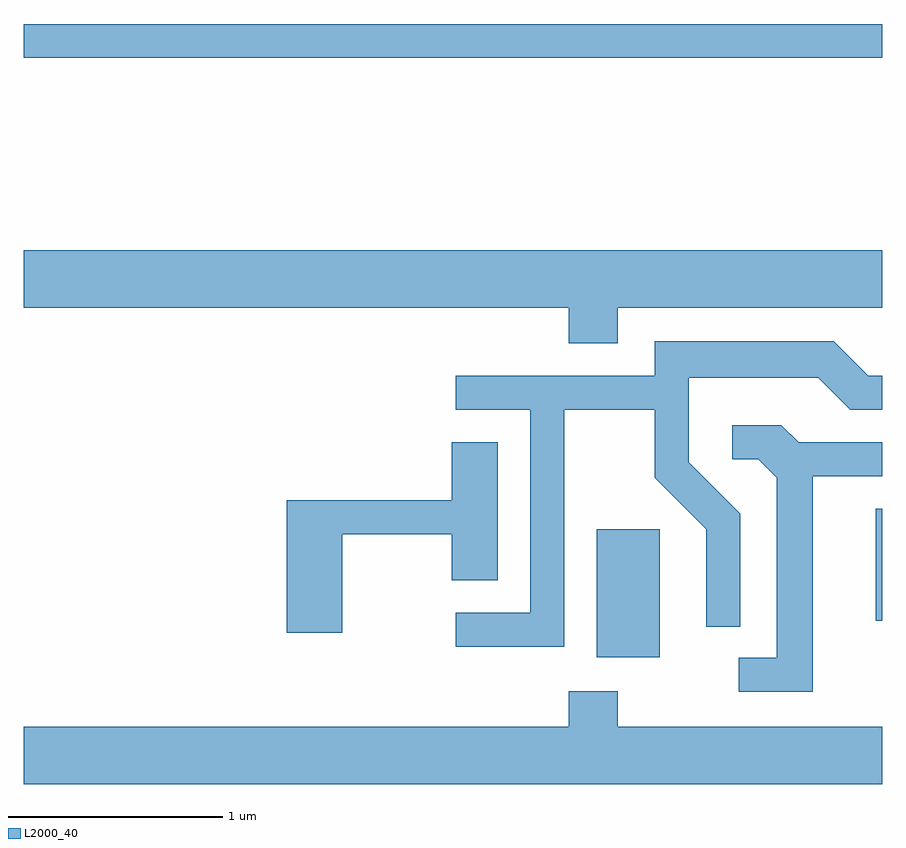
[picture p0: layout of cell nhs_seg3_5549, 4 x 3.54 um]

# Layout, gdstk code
import gdstk
lib = gdstk.Library(unit=1e-6, precision=1e-09)
def R(c, l, rs):  # rectangles x0, y0, x1, y1
    for r in rs: c.add(gdstk.rectangle(r[:2], r[2:], *l))
def P(c, l, *ps):  # polygons
    for p in ps: c.add(gdstk.Polygon(p, *l))
L2000_40 = (2000, 40)

nhs_seg3_5549 = lib.new_cell('nhs_seg3_5549')
R(nhs_seg3_5549, L2000_40, [(350.281,1206.526,350.574,1207.124), (351.581,1206.696,351.611,1207.219), (347.611,1209.321,351.611,1209.479)])
P(nhs_seg3_5549, L2000_40, [(350.379,1208.156),(351.611,1208.156),(351.611,1208.424),(347.611,1208.424),(347.611,1208.156),(350.151,1208.156),(350.151,1207.991),(350.379,1207.991)],
  [(350.129,1207.681),(350.551,1207.681),(350.551,1207.364),(350.791,1207.124),(350.791,1206.668),(350.949,1206.668),(350.949,1207.197),(350.709,1207.437),(350.709,1207.831),(351.314,1207.831),(351.464,1207.681),(351.611,1207.681),(351.611,1207.839),(351.547,1207.839),(351.387,1207.999),(350.551,1207.999),(350.551,1207.839),(349.623,1207.839),(349.623,1207.681),(349.971,1207.681),(349.971,1206.734),(349.623,1206.734),(349.623,1206.576),(350.129,1206.576)],
  [(351.289,1207.371),(351.611,1207.371),(351.611,1207.529),(351.222,1207.529),(351.142,1207.609),(350.913,1207.609),(350.913,1207.451),(351.034,1207.451),(351.121,1207.364),(351.121,1206.524),(350.943,1206.524),(350.943,1206.366),(351.289,1206.366)],
  [(349.094,1207.101),(349.606,1207.101),(349.606,1206.886),(349.819,1206.886),(349.819,1207.529),(349.606,1207.529),(349.606,1207.259),(348.836,1207.259),(348.836,1206.641),(349.094,1206.641)],
  [(351.611,1206.204),(350.379,1206.204),(350.379,1206.369),(350.151,1206.369),(350.151,1206.204),(347.611,1206.204),(347.611,1205.936),(351.611,1205.936)])

lib.write_gds('nhs_seg3_5549.gds')
